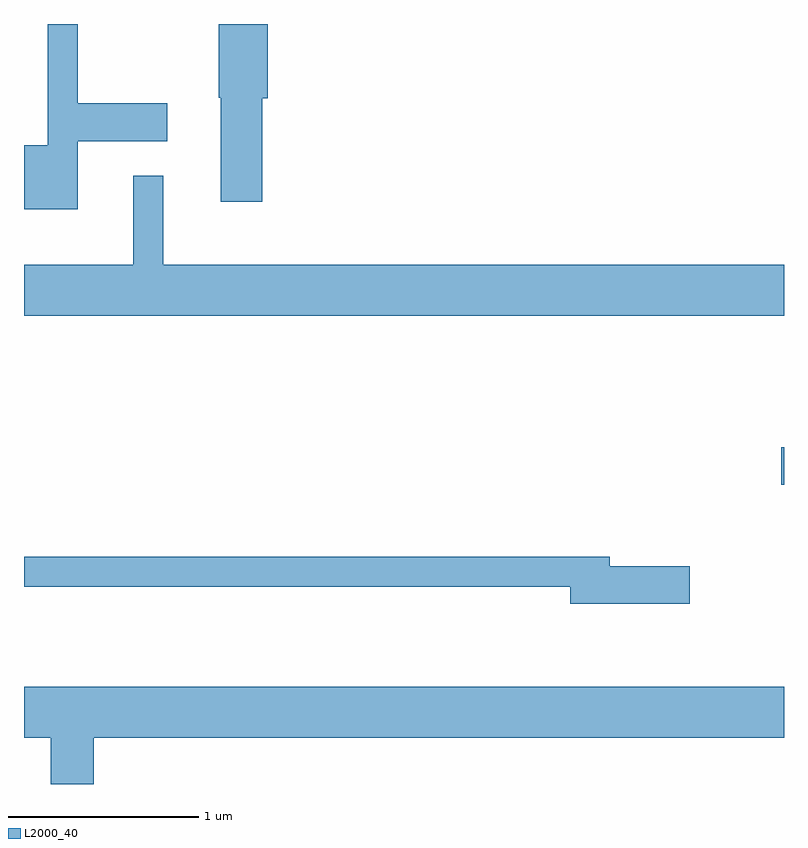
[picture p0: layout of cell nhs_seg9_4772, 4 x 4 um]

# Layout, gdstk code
import gdstk
lib = gdstk.Library(unit=1e-6, precision=1e-09)
def R(c, l, rs):  # rectangles x0, y0, x1, y1
    for r in rs: c.add(gdstk.rectangle(r[:2], r[2:], *l))
def P(c, l, *ps):  # polygons
    for p in ps: c.add(gdstk.Polygon(p, *l))
L2000_40 = (2000, 40)

nhs_seg9_4772 = lib.new_cell('nhs_seg9_4772')
R(nhs_seg9_4772, L2000_40, [(329.596,2022.006,329.611,2022.204)])
P(nhs_seg9_4772, L2000_40, [(326.864,2024.041),(326.894,2024.041),(326.894,2024.432),(326.636,2024.432),(326.636,2024.045),(326.646,2024.045),(326.646,2023.496),(326.864,2023.496)],
  [(325.894,2023.816),(326.364,2023.816),(326.364,2024.014),(325.894,2024.014),(325.894,2024.432),(325.736,2024.432),(325.736,2023.794),(325.611,2023.794),(325.611,2023.456),(325.894,2023.456)],
  [(329.611,2023.164),(326.344,2023.164),(326.344,2023.633),(326.186,2023.633),(326.186,2023.164),(325.611,2023.164),(325.611,2022.896),(329.611,2022.896)],
  [(329.114,2021.579),(328.694,2021.579),(328.694,2021.629),(325.611,2021.629),(325.611,2021.471),(328.486,2021.471),(328.486,2021.381),(329.114,2021.381)],
  [(325.979,2020.676),(329.611,2020.676),(329.611,2020.944),(325.611,2020.944),(325.611,2020.676),(325.751,2020.676),(325.751,2020.432),(325.979,2020.432)])

lib.write_gds('nhs_seg9_4772.gds')
